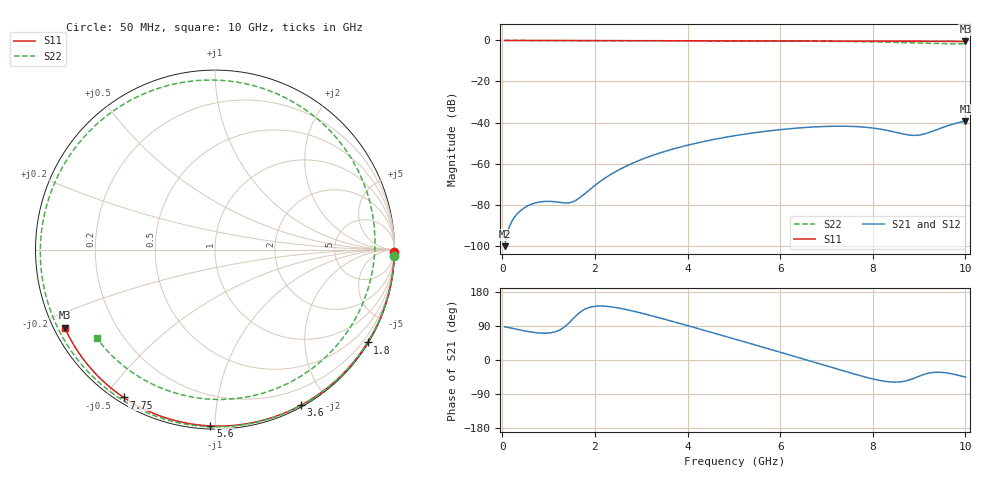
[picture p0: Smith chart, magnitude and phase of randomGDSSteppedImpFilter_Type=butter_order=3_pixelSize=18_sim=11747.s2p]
! freq	dB(S11)	phase(S11)	dB(S12)	phase(S12)
!  dB(S21)	phase(S21)	dB(S22)	phase(S22)
!S-par simulation data
#  GHz  S  DB  R 50
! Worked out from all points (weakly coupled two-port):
!   200 points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, 50 MHz to 10 GHz, reference 50 ohm
!   highest |S21| = -39.24 dB at 10 GHz (marker M1); lowest = -100.3 dB at 50 MHz (marker M2)
!   lowest |S11| = -0.5 dB at 10 GHz (marker M3), VSWR 34.34, Z = 1.54 - j12.2 ohm
!   |S11| at or under -10 dB: nowhere
!   |S22| runs from -1.7 to 0.0 dB; largest |S21 - S12| = 0
!   S11 on the Smith chart (normalised r, x): 50 MHz: open; 1.8 GHz: 0.03, -3.57; 3.6 GHz: 0.02, -1.70; 5.6 GHz: 0.02, -0.97; 7.75 GHz: 0.02, -0.56; 10 GHz: 0.03, -0.24
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0.05  -0.00 -0.9  -100.25 87.6  -100.25 87.6  -0.00 -2.1
0.7  -0.01 -12.3  -79.28 72.5  -79.28 72.5  -0.03 -29.2
1.45  -0.03 -25.3  -79.09 99.0  -79.09 99.0  -0.07 -59.1
1.75  -0.04 -30.5  -75.27 131.9  -75.27 131.9  -0.09 -70.6
1.8  -0.04 -31.3  -74.33 135.1  -74.33 135.1  -0.09 -72.4
2.5  -0.06 -43.1  -63.26 137.4  -63.26 137.4  -0.11 -97.7
3.4  -0.08 -57.8  -54.85 111.1  -54.85 111.1  -0.15 -127.8
3.6  -0.08 -61.0  -53.47 104.4  -53.47 104.4  -0.16 -134.3
4.35  -0.10 -72.7  -49.24 78.7  -49.24 78.7  -0.19 -158.0
5.05  -0.13 -83.4  -46.30 54.2  -46.30 54.2  -0.24 179.6
5.6  -0.15 -91.5  -44.51 34.8  -44.51 34.8  -0.28 161.3
6.15  -0.18 -99.4  -43.13 15.2  -43.13 15.2  -0.33 141.5
6.7  -0.21 -107.2  -42.19 -4.6  -42.19 -4.6  -0.39 119.3
7.25  -0.24 -114.9  -41.79 -24.5  -41.79 -24.5  -0.48 93.3
7.75  -0.28 -121.7  -42.13 -42.1  -42.13 -42.1  -0.61 64.6
8.05  -0.31 -125.8  -42.83 -51.3  -42.83 -51.3  -0.72 44.3
8.35  -0.33 -129.9  -44.02 -57.6  -44.02 -57.6  -0.86 21.0
8.8  -0.37 -136.0  -46.13 -52.1  -46.13 -52.1  -1.15 -19.9
9.05  -0.40 -139.4  -45.91 -40.4  -45.91 -40.4  -1.32 -45.3
9.3  -0.43 -142.9  -44.18 -32.9  -44.18 -32.9  -1.48 -71.8
9.6  -0.46 -147.0  -41.71 -34.2  -41.71 -34.2  -1.62 -103.5
10  -0.51 -152.6  -39.24 -45.1  -39.24 -45.1  -1.69 -143.1
